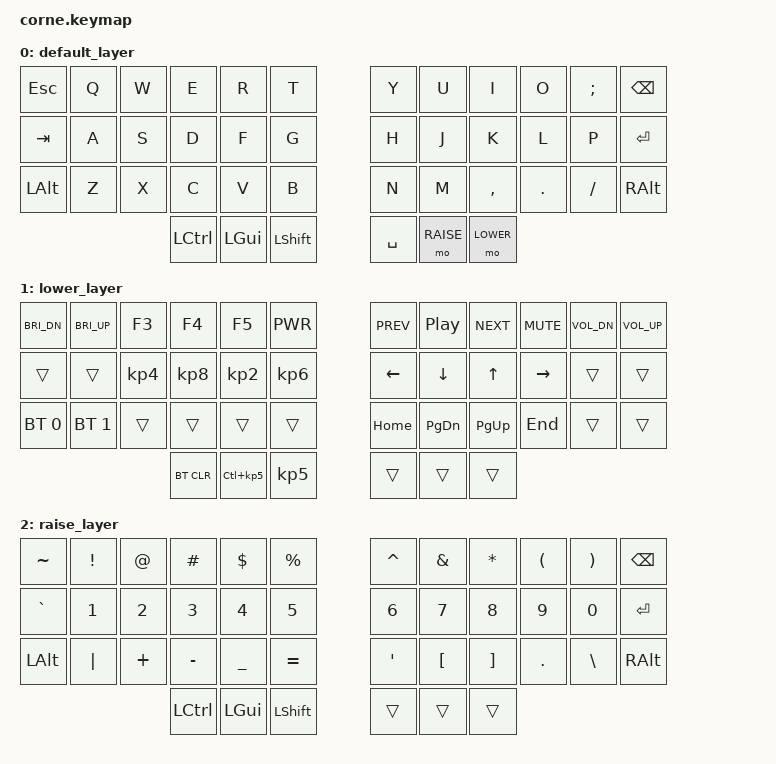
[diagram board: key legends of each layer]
/*
 * Copyright (c) 2020 The ZMK Contributors
 *
 * SPDX-License-Identifier: MIT
 */

#include <behaviors.dtsi>
#include <dt-bindings/zmk/keys.h>
#include <dt-bindings/zmk/bt.h>
#include <dt-bindings/zmk/ext_power.h>

#define DEFAULT 0
#define LOWER   1
#define RAISE   2

/ {
        keymap {
                compatible = "zmk,keymap";

                default_layer {
// +----------------------------------------------------------------------------+
// | ESC |  Q  |  W  |  E  |  R  |  T  |   |  Y  |  U  |  I  |  O  |  ;  | BKS |
// | TAB |  A  |  S  |  D  |  F  |  G  |   |  H  |  J  |  K  |  L  |  P  | ENT |
// | ALT |  Z  |  X  |  C  |  V  |  B  |   |  N  |  M  |  ,  |  .  |  /  | ALT |
//                   | CTL | CMD | SHF |   | SPC | RSE | LWR |
                        bindings = <
    &kp ESC   &kp Q &kp W &kp E &kp R &kp T   &kp Y &kp U &kp I     &kp O   &kp SEMI &kp BSPC
    &kp TAB   &kp A &kp S &kp D &kp F &kp G   &kp H &kp J &kp K     &kp L   &kp P    &kp RET
    &kp LALT  &kp Z &kp X &kp C &kp V &kp B   &kp N &kp M &kp COMMA &kp DOT &kp FSLH &kp RALT
               &kp LCTRL &kp LGUI &kp LSHFT   &kp SPACE &mo RAISE   &mo LOWER
                        >;
                };

                lower_layer {
// +----------------------------------------------------------------------------+
// | B-  | B+  | F3  | F4  | F5  | SLP |   | PRE | PAS | NXT | V0  | V-  | V+  |
// |     |     | MS← | MS↑ | MS↓ | MS→ |   |  ←  |  ↓  |  ↑  |  →  |     |     |
// | BT1 | BT2 |     |     |     |     |   | HOM | PG↓ | PG↑ | END |     |     |
//                   | BTH | MS2 | MS1 |   |     |     |     |
                        bindings = <
        &kp C_BRI_DN &kp C_BRI_UP &kp F3 &kp F4 &kp F5 &kp C_PWR      &kp C_PREV &kp C_PP &kp C_NEXT &kp K_MUTE &kp C_VOL_DN &kp C_VOL_UP
            &trans  &trans  &kp KP_N4 &kp KP_N8 &kp KP_N2 &kp KP_N6   &kp LEFT &kp DOWN  &kp UP    &kp RIGHT &trans  &trans
&bt BT_SEL 0  &bt BT_SEL 1  &trans    &trans    &trans    &trans      &kp HOME &kp PG_DN &kp PG_UP &kp END   &trans  &trans
                              &bt BT_CLR &kp LC(KP_N5) &kp KP_N5      &trans &trans &trans
                        >;
                };

                raise_layer {
// +---------------------------------------------------------------------------+
// |  ~  |  !  |  @  |  #  |  $  |  %  |   |  ^  |  &  |  *  |  (  |  )  | BSP |
// |  `  |  1  |  2  |  3  |  4  |  5  |   |  6  |  7  |  8  |  9  |  0  | ENT |
// | ALT |  |  |  +  |  -  |  _  |  =  |   |  '  |  [  |  ]  |  .  |  \  | ALT |
//                   | CTL | CMD | SHF |   |     |     |     |
                        bindings = <
    &kp TILDE &kp EXCL &kp AT    &kp HASH  &kp DLLR  &kp PRCNT   &kp CARET &kp AMPS &kp STAR &kp LPAR &kp RPAR &kp BSPC
    &kp GRAVE &kp N1   &kp N2    &kp N3    &kp N4    &kp N5      &kp N6    &kp N7   &kp N8   &kp N9   &kp N0   &kp RET
    &kp LALT  &kp PIPE &kp PLUS  &kp MINUS &kp UNDER &kp EQUAL   &kp SQT   &kp LBKT &kp RBKT &kp DOT  &kp BSLH &kp RALT
                                 &kp LCTRL &kp LGUI  &kp LSHFT   &trans    &trans   &trans
                        >;
                };
        };
};
